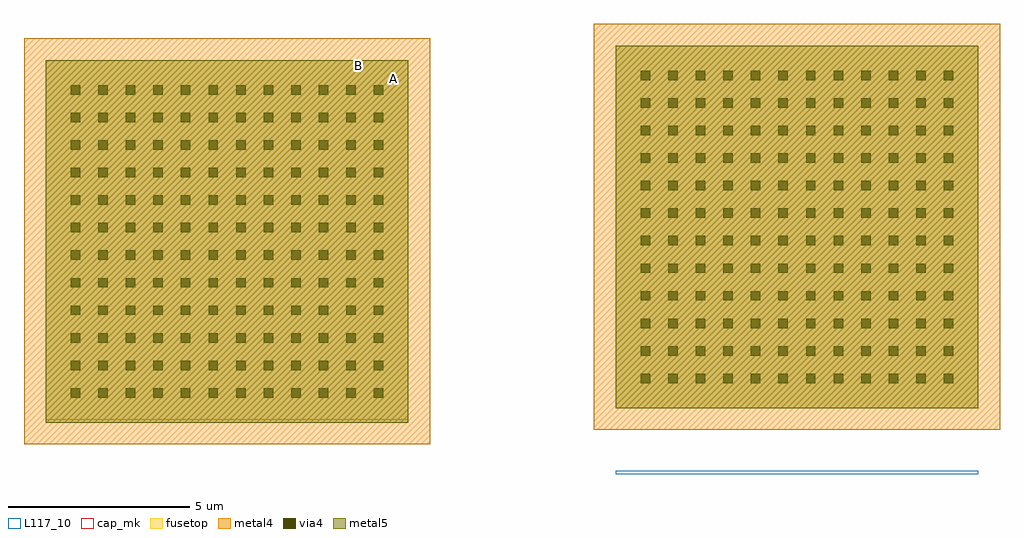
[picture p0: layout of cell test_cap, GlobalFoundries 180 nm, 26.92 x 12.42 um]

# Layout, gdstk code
import gdstk
lib = gdstk.Library(unit=1e-6, precision=5e-09)
def R(c, l, rs):  # rectangles x0, y0, x1, y1
    for r in rs: c.add(gdstk.rectangle(r[:2], r[2:], *l))
def A(c, l, x, y, w, h, nx, ny, dx, dy):  # array of equal rectangles
    R(c, l, [(x+i*dx, y+j*dy, x+i*dx+w, y+j*dy+h) for i in range(nx) for j in range(ny)])
via4 = (41, 0)
metal4 = (46, 0)
fusetop = (75, 0)
metal5 = (81, 0)
cap_mk = (117, 5)
L117_10 = (117, 10)

cap_mim_1 = lib.new_cell('cap_mim$1')
A(cap_mim_1, via4, 0.69, 0.69, 0.26, 0.26, 12, 12, 0.76, 0.76)
R(cap_mim_1, metal4, [(-0.6,-0.6,10.6,10.6)])
R(cap_mim_1, fusetop, [(0,0,10,10)])
R(cap_mim_1, metal5, [(0,0,10,10)])
R(cap_mim_1, cap_mk, [(-0.6,-0.6,10.6,10.6)])
R(cap_mim_1, L117_10, [(0,0,10,0.1)])

test_cap = lib.new_cell('test_cap')
A(test_cap, via4, 14.965, 6.215, 0.26, 0.26, 12, 12, 0.76, 0.76)
R(test_cap, metal4, [(13.675,4.925,24.875,16.125)])
R(test_cap, fusetop, [(14.275,5.525,24.275,15.525)])
R(test_cap, metal5, [(14.275,5.525,24.275,15.525)])
R(test_cap, cap_mk, [(13.675,4.925,24.875,16.125)])
R(test_cap, L117_10, [(14.275,3.705,24.275,3.805)])
test_cap.add(gdstk.Reference(cap_mim_1, (-1.445,5.125)))
test_cap.add(gdstk.Label('A', (8.15,14.61), layer=81, texttype=10))
test_cap.add(gdstk.Label('B', (7.19,14.985), layer=46, texttype=10))

lib.write_gds('test_cap.gds')
